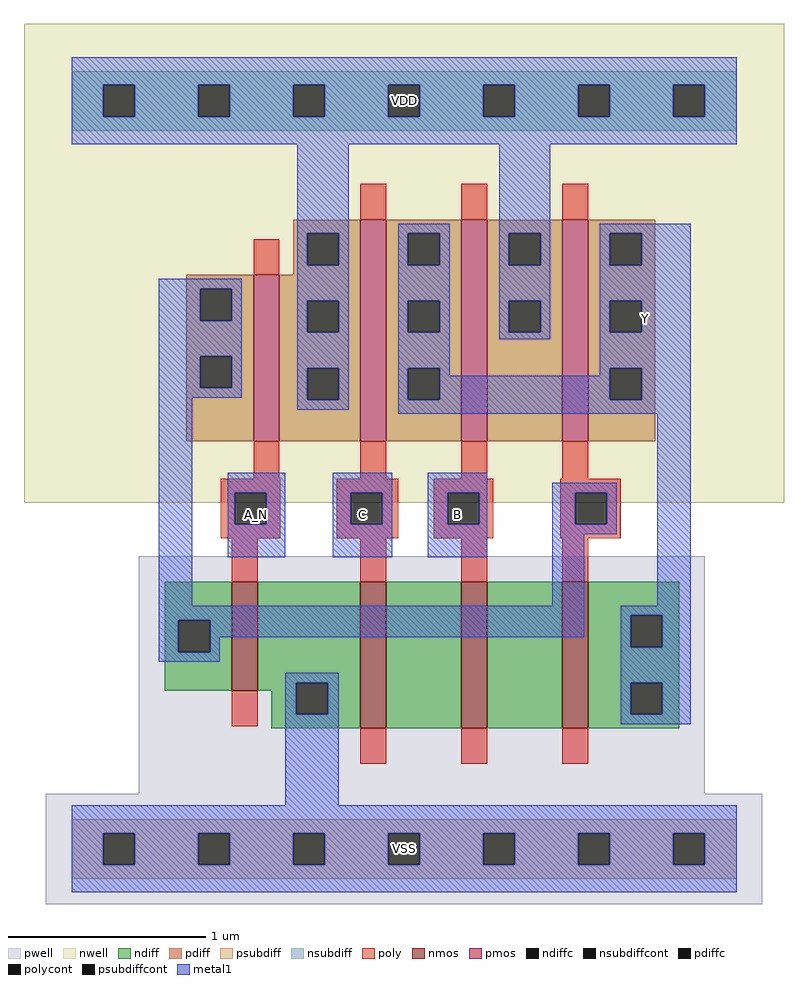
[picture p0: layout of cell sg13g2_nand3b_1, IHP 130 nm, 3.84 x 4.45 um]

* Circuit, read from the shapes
.subckt sg13g2_nand3b_1 A_N Y VDD VSS B C
XM1 VSS A_N n1 VSS sg13_lv_nmos w=0.55u l=0.13u
XM2 n2 C VSS VSS sg13_lv_nmos w=0.74u l=0.13u
XM3 n3 B n2 VSS sg13_lv_nmos w=0.74u l=0.13u
XM4 Y n1 n3 VSS sg13_lv_nmos w=0.74u l=0.13u
XM5 VDD A_N n1 VDD sg13_lv_pmos w=0.84u l=0.13u
XM6 Y C VDD VDD sg13_lv_pmos w=1.12u l=0.13u
XM7 VDD B Y VDD sg13_lv_pmos w=1.12u l=0.13u
XM8 Y n1 VDD VDD sg13_lv_pmos w=1.12u l=0.13u
.ends

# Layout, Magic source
magic
tech ihp-sg13g2
magscale 1 2
<< nwell >>
rect -48 350 720 834
<< pwell >>
rect 68 56 640 296
rect -26 -56 698 56
<< nmos >>
rect 162 160 188 270
rect 292 122 318 270
rect 394 122 420 270
rect 496 122 522 270
<< pmos >>
rect 184 412 210 580
rect 292 412 318 636
rect 394 412 420 636
rect 496 412 522 636
<< ndiff >>
rect 94 231 162 270
rect 94 199 108 231
rect 140 199 162 231
rect 94 160 162 199
rect 188 168 292 270
rect 188 160 227 168
rect 202 136 227 160
rect 259 136 292 168
rect 202 122 292 136
rect 318 122 394 270
rect 420 122 496 270
rect 522 236 614 270
rect 522 204 565 236
rect 597 204 614 236
rect 522 168 614 204
rect 522 136 565 168
rect 597 136 614 168
rect 522 122 614 136
<< pdiff >>
rect 224 622 292 636
rect 224 590 238 622
rect 270 590 292 622
rect 224 580 292 590
rect 116 566 184 580
rect 116 534 130 566
rect 162 534 184 566
rect 116 498 184 534
rect 116 466 130 498
rect 162 466 184 498
rect 116 412 184 466
rect 210 554 292 580
rect 210 522 238 554
rect 270 522 292 554
rect 210 486 292 522
rect 210 454 238 486
rect 270 454 292 486
rect 210 412 292 454
rect 318 622 394 636
rect 318 590 340 622
rect 372 590 394 622
rect 318 554 394 590
rect 318 522 340 554
rect 372 522 394 554
rect 318 486 394 522
rect 318 454 340 486
rect 372 454 394 486
rect 318 412 394 454
rect 420 622 496 636
rect 420 590 442 622
rect 474 590 496 622
rect 420 554 496 590
rect 420 522 442 554
rect 474 522 496 554
rect 420 412 496 522
rect 522 622 590 636
rect 522 590 544 622
rect 576 590 590 622
rect 522 554 590 590
rect 522 522 544 554
rect 576 522 590 554
rect 522 486 590 522
rect 522 454 544 486
rect 576 454 590 486
rect 522 412 590 454
<< ndiffc >>
rect 108 199 140 231
rect 227 136 259 168
rect 565 204 597 236
rect 565 136 597 168
<< pdiffc >>
rect 238 590 270 622
rect 130 534 162 566
rect 130 466 162 498
rect 238 522 270 554
rect 238 454 270 486
rect 340 590 372 622
rect 340 522 372 554
rect 340 454 372 486
rect 442 590 474 622
rect 442 522 474 554
rect 544 590 576 622
rect 544 522 576 554
rect 544 454 576 486
<< psubdiff >>
rect 0 16 672 30
rect 0 -16 32 16
rect 64 -16 128 16
rect 160 -16 224 16
rect 256 -16 320 16
rect 352 -16 416 16
rect 448 -16 512 16
rect 544 -16 608 16
rect 640 -16 672 16
rect 0 -30 672 -16
<< nsubdiff >>
rect 0 772 672 786
rect 0 740 32 772
rect 64 740 128 772
rect 160 740 224 772
rect 256 740 320 772
rect 352 740 416 772
rect 448 740 512 772
rect 544 740 608 772
rect 640 740 672 772
rect 0 726 672 740
<< psubdiffcont >>
rect 32 -16 64 16
rect 128 -16 160 16
rect 224 -16 256 16
rect 320 -16 352 16
rect 416 -16 448 16
rect 512 -16 544 16
rect 608 -16 640 16
<< nsubdiffcont >>
rect 32 740 64 772
rect 128 740 160 772
rect 224 740 256 772
rect 320 740 352 772
rect 416 740 448 772
rect 512 740 544 772
rect 608 740 640 772
<< poly >>
rect 292 636 318 672
rect 394 636 420 672
rect 496 636 522 672
rect 184 580 210 616
rect 184 374 210 412
rect 292 374 318 412
rect 394 374 420 412
rect 496 374 522 412
rect 151 360 211 374
rect 151 328 165 360
rect 197 328 211 360
rect 151 314 211 328
rect 268 360 330 374
rect 268 328 282 360
rect 314 328 330 360
rect 268 314 330 328
rect 366 360 426 374
rect 366 328 380 360
rect 412 328 426 360
rect 366 314 426 328
rect 494 360 555 374
rect 494 328 509 360
rect 541 328 555 360
rect 494 314 555 328
rect 162 270 188 314
rect 292 270 318 314
rect 394 270 420 314
rect 496 270 522 314
rect 162 124 188 160
rect 292 86 318 122
rect 394 86 420 122
rect 496 86 522 122
<< polycont >>
rect 165 328 197 360
rect 282 328 314 360
rect 380 328 412 360
rect 509 328 541 360
<< metal1 >>
rect 0 772 672 800
rect 0 740 32 772
rect 64 740 128 772
rect 160 740 224 772
rect 256 740 320 772
rect 352 740 416 772
rect 448 740 512 772
rect 544 740 608 772
rect 640 740 672 772
rect 0 712 672 740
rect 228 622 280 712
rect 228 590 238 622
rect 270 590 280 622
rect 88 566 172 576
rect 88 534 130 566
rect 162 534 172 566
rect 88 498 172 534
rect 88 466 130 498
rect 162 466 172 498
rect 88 456 172 466
rect 228 554 280 590
rect 228 522 238 554
rect 270 522 280 554
rect 228 486 280 522
rect 88 246 122 456
rect 228 454 238 486
rect 270 454 280 486
rect 228 444 280 454
rect 330 622 382 632
rect 330 590 340 622
rect 372 590 382 622
rect 330 554 382 590
rect 330 522 340 554
rect 372 522 382 554
rect 330 486 382 522
rect 432 622 484 712
rect 432 590 442 622
rect 474 590 484 622
rect 432 554 484 590
rect 432 522 442 554
rect 474 522 484 554
rect 432 515 484 522
rect 534 622 626 632
rect 534 590 544 622
rect 576 590 626 622
rect 534 554 626 590
rect 534 522 544 554
rect 576 522 626 554
rect 330 454 340 486
rect 372 478 382 486
rect 534 486 626 522
rect 534 478 544 486
rect 372 454 544 478
rect 576 454 626 486
rect 330 440 626 454
rect 158 360 216 380
rect 158 328 165 360
rect 197 328 216 360
rect 158 295 216 328
rect 264 360 324 380
rect 264 328 282 360
rect 314 328 324 360
rect 264 295 324 328
rect 360 360 420 380
rect 360 328 380 360
rect 412 328 420 360
rect 360 295 420 328
rect 486 360 551 370
rect 486 328 509 360
rect 541 328 551 360
rect 486 318 551 328
rect 486 246 518 318
rect 592 246 626 440
rect 88 231 518 246
rect 88 199 108 231
rect 140 214 518 231
rect 555 236 626 246
rect 140 199 150 214
rect 88 189 150 199
rect 555 204 565 236
rect 597 204 626 236
rect 216 168 270 178
rect 216 136 227 168
rect 259 136 270 168
rect 216 44 270 136
rect 555 168 626 204
rect 555 136 565 168
rect 597 136 626 168
rect 555 126 626 136
rect 0 16 672 44
rect 0 -16 32 16
rect 64 -16 128 16
rect 160 -16 224 16
rect 256 -16 320 16
rect 352 -16 416 16
rect 448 -16 512 16
rect 544 -16 608 16
rect 640 -16 672 16
rect 0 -44 672 -16
<< labels >>
flabel metal1 s 158 295 216 380 0 FreeSans 400 0 0 0 A_N
port 2 nsew
flabel metal1 s 534 440 626 632 0 FreeSans 400 0 0 0 Y
port 3 nsew
flabel metal1 s 0 712 672 800 0 FreeSans 400 0 0 0 VDD
port 4 nsew
flabel metal1 s 0 -44 672 44 0 FreeSans 400 0 0 0 VSS
port 5 nsew
flabel metal1 s 360 295 420 380 0 FreeSans 400 0 0 0 B
port 6 nsew
flabel metal1 s 264 295 324 380 0 FreeSans 400 0 0 0 C
port 7 nsew
<< properties >>
string FIXED_BBOX 0 0 672 756
string GDS_END 164924
string GDS_FILE 6_final.gds
string GDS_START 159126
<< end >>
